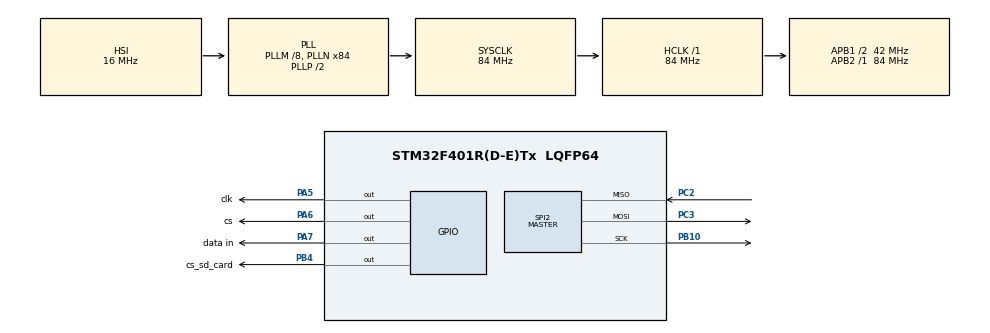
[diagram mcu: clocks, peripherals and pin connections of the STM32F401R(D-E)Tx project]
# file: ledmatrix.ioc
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FATFS._MAX_SS=4096
FATFS._USE_LFN=1
Mcu.Family=STM32F4
Mcu.Name=STM32F401R(D-E)Tx
Mcu.Package=LQFP64
NVIC.PriorityGroup=NVIC_PRIORITYGROUP_4
PA13.Mode=Serial_Wire
PA13.Signal=SYS_JTMS-SWDIO
PA14.Mode=Serial_Wire
PA14.Signal=SYS_JTCK-SWCLK
PA5.GPIO_Label=clk
PA5.Signal=GPIO_Output
PA6.GPIO_Label=cs
PA6.Signal=GPIO_Output
PA7.GPIO_Label=data in
PA7.Signal=GPIO_Output
PB10.Mode=Full_Duplex_Master
PB10.Signal=SPI2_SCK
PB4.GPIO_Label=cs_sd_card
PB4.Signal=GPIO_Output
PC2.Mode=Full_Duplex_Master
PC2.Signal=SPI2_MISO
PC3.Mode=Full_Duplex_Master
PC3.Signal=SPI2_MOSI
ProjectManager.HeapSize=0x200
ProjectManager.StackSize=0x400
ProjectManager.TargetToolchain=STM32CubeIDE
RCC.48MHZClocksFreq_Value=42000000
RCC.AHBFreq_Value=84000000
RCC.APB1CLKDivider=RCC_HCLK_DIV2
RCC.APB1Freq_Value=42000000
RCC.APB1TimFreq_Value=84000000
RCC.APB2Freq_Value=84000000
RCC.APB2TimFreq_Value=84000000
RCC.CortexFreq_Value=84000000
RCC.HCLKFreq_Value=84000000
RCC.HSE_VALUE=25000000
RCC.HSI_VALUE=16000000
RCC.LSE_VALUE=32768
RCC.PLLM=8
RCC.PLLN=84
RCC.SYSCLKFreq_VALUE=84000000
RCC.SYSCLKSource=RCC_SYSCLKSOURCE_PLLCLK
RCC.VCOOutputFreq_Value=168000000
SPI2.BaudRatePrescaler=SPI_BAUDRATEPRESCALER_32
SPI2.Direction=SPI_DIRECTION_2LINES
SPI2.Mode=SPI_MODE_MASTER
SPI2.VirtualType=VM_MASTER
VP_FATFS_VS_Generic.Mode=User_defined
board=custom

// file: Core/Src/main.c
/* USER CODE BEGIN Header */
/**
  ******************************************************************************
  * @file           : main.c
  * @brief          : Main program body
  ******************************************************************************
  * @attention
  *
  * <h2><center>&copy; Copyright (c) 2020 STMicroelectronics.
  * All rights reserved.</center></h2>
  *
  * This software component is licensed by ST under BSD 3-Clause license,
  * the "License"; You may not use this file except in compliance with the
  * License. You may obtain a copy of the License at:
  *                        opensource.org/licenses/BSD-3-Clause
  *
  ******************************************************************************
  */
/* USER CODE END Header */
#include "main.h"
#include "fatfs.h"
#include "spi.h"
#include "gpio.h"

/* USER CODE BEGIN Includes */
#include "fatfs_sd.h"
#include "string.h"
#include "stdbool.h"
/* USER CODE END Includes */

void SystemClock_Config(void);

/* USER CODE BEGIN 0 */

#define N 4000
uint8_t tablicaGlowna[8][4000];
FATFS fs;
FIL fil;
FRESULT fresult;
char buffer[N];
char tekst[N];
char buffer2[100];
int ilosc_led = 0;
int szybkosc = 0;
int mode=1;
int dlugoscZnaku=0;
int kontrast=0;
////////////////////////////////////
////////////////////////////////////
///////////////////////////////////

/*int zwroc_dlugosc_pliku(){
	int counter=0;
	for(int i=0;i<N;i++){
	if(tekst[i]!=0){
		counter++;
	}
	}

	return counter-1;
}*/

void przepiszPlik(int dlugosc){
   for(int i=0;i<dlugosc;i++){
   tekst[i]=buffer[i];
   }

}
//////////////////////////////////////////////////////
void otworzPlikZTekstem(){
	  fresult = f_mount(&fs, "", 0);
	  fresult = f_open(&fil, "tekst.txt", FA_READ);
	  f_gets(buffer,4096, &fil);
	  f_close(&fil);

	 przepiszPlik(strlen(buffer));
}
//////////////////////////////////////////////////////////
bool otworzPlikZParametrami(){
	  bool control=true;
	  fresult = f_mount(&fs, "", 0);
	  fresult = f_open(&fil, "config.txt", FA_READ);
	  f_gets(buffer2,4096, &fil);
	  f_close(&fil);
	  szybkosc = (int)buffer2[14]-48;
	  if(szybkosc <1 || szybkosc>9){strcpy(tekst,"Blad pliku konfiguracyjnego, ustaw szybkosc przewijania z przedzialu <1,9>"); control=false;}
	  mode=(int)buffer2[5]-48;
	  if(mode<0 || mode>1){strcpy(tekst, "Blad pliku konfiguracyjnego, ustaw mode na 0 lub 1"); control=false;}

	  ilosc_led= ((int)buffer2[29]-48)*10+(int)buffer2[30]-48;
	  if(ilosc_led<1 ||ilosc_led>64){strcpy(tekst,"Blad pliku konfiguracyjnego, ustaw ilosc led z przedzialu (1,64>"); control=false;}

	  kontrast= ((int)buffer2[42]-48)*10+(int)buffer2[43]-48;
	  	  if(kontrast<0 ||kontrast>15){strcpy(tekst,"Blad pliku konfiguracyjnego, ustaw kontrast z przedzialu <0,15>"); control=false;}
return control;
}
//////////////////////////////////////////////////////
void wypelnijGlownaTablice(){
for(int i=0; i<N; i++){
	for(int j=0; j<8; j++){
	tablicaGlowna[j][i]= 2;
	}
}
}
/////////////////////////////////////////////////////
int dlugoscTablicyGlownej(){
	int counter=0;

	for(int i=0;i<N; i++){
		if(tablicaGlowna[7][i]!=2){counter++;}
	}
	return counter;
	}

///////////////////////////////////////////////////////
void dodajMacierzLitery(uint8_t macierz[8][dlugoscZnaku]){
int aktualnaDlugosc = dlugoscTablicyGlownej();  //dlugosc tablicy głownej przed dodaniem kolejnego znaku
for(int j=0;j<dlugoscZnaku;j++){
	for(int k=0; k<8; k++){
		int len=aktualnaDlugosc+j;
	tablicaGlowna[k][len]=macierz[k][j];
	}
}
}
///////////////////////////////////////////////////

void KonwertujTekst(int dlugosc)
{
	uint8_t literaProcent[8][7]={
			{0,1,0,0,0,0,0},
			{1,0,1,0,0,1,0},
			{0,1,0,0,1,0,0},
			{0,0,0,1,0,0,0},
			{0,0,1,0,0,0,0},
			{0,1,0,0,1,0,0},
			{1,0,0,1,0,1,0},
			{0,0,0,0,1,0,0}
	};

	uint8_t literaKropka[8][3]={
			{0,0,0},
			{0,0,0},
			{0,0,0},
			{0,0,0},
			{0,0,0},
			{0,0,0},
			{1,1,0},
			{1,1,0}
	};

	uint8_t literaKreskaPionowa[8][2]={
			{1,0},
			{1,0},
			{1,0},
			{1,0},
			{1,0},
			{1,0},
			{1,0},
			{1,0}
	};

	uint8_t literaWykrzyknik[8][2]={
			{1,0},
			{1,0},
			{1,0},
			{1,0},
			{1,0},
			{0,0},
			{1,0},
			{0,0}
	};

	uint8_t literaZnakZapytania[8][6]={
			{0,1,1,1,0,0},
			{1,0,0,0,1,0},
			{0,0,0,0,1,0},
			{0,0,0,1,0,0},
			{0,0,1,0,0,0},
			{0,0,1,0,0,0},
			{0,0,0,0,0,0},
			{0,0,1,0,0,0}
	};

	uint8_t literaPrzecinek[8][3]={
			{0,0,0},
			{0,0,0},
			{0,0,0},
			{0,0,0},
			{0,0,0},
			{1,0,0},
			{0,1,0},
			{0,1,0}
	};

	uint8_t literaDwukropek[8][3]={
			{0,0,0},
			{0,0,0},
			{0,0,0},
			{1,1,0},
			{1,1,0},
			{0,0,0},
			{1,1,0},
			{1,1,0}
	};

	uint8_t literaApostrof[8][3]={
			{0,1,0},
			{1,0,0},
			{0,0,0},
			{0,0,0},
			{0,0,0},
			{0,0,0},
			{0,0,0},
			{0,0,0}
	};

	uint8_t literaSlash[8][6]={
			{0,0,0,0,1,0},
			{0,0,0,0,1,0},
			{0,0,0,1,0,0},
			{0,0,0,1,0,0},
			{0,0,1,0,0,0},
			{0,1,0,0,0,0},
			{0,1,0,0,0,0},
			{1,0,0,0,0,0}
	};

	uint8_t literaBackSlash[8][6]={
			{1,0,0,0,0,0},
			{1,0,0,0,0,0},
			{0,1,0,0,0,0},
			{0,1,0,0,0,0},
			{0,0,1,0,0,0},
			{0,0,0,1,0,0},
			{0,0,0,1,0,0},
			{0,0,0,0,1,0}
	};

	uint8_t literaRownaSie[8][6]={
			{0,0,0,0,0,0},
			{0,0,0,0,0,0},
			{1,1,1,1,1,0},
			{0,0,0,0,0,0},
			{0,0,0,0,0,0},
			{1,1,1,1,1,0},
			{0,0,0,0,0,0},
			{0,0,0,0,0,0}
	};

	uint8_t literaPlus[8][6]={
			{0,0,0,0,0,0},
			{0,0,0,0,0,0},
			{0,0,1,0,0,0},
			{0,0,1,0,0,0},
			{1,1,1,1,1,0},
			{0,0,1,0,0,0},
			{0,0,1,0,0,0},
			{0,0,0,0,0,0}
	};
	uint8_t literaMinus[8][6]={
			{0,0,0,0,0,0},
			{0,0,0,0,0,0},
			{0,0,0,0,0,0},
			{0,0,0,0,0,0},
			{1,1,1,1,1,0},
			{0,0,0,0,0,0},
			{0,0,0,0,0,0},
			{0,0,0,0,0,0}
	};
	uint8_t literaPodloga[8][6]={
			{0,0,0,0,0,0},
			{0,0,0,0,0,0},
			{0,0,0,0,0,0},
			{0,0,0,0,0,0},
			{0,0,0,0,0,0},
			{0,0,0,0,0,0},
			{0,0,0,0,0,0},
			{1,1,1,1,1,0}
	};

	uint8_t literaWiekszeOd[8][6]={
			{0,0,0,0,0,0},
			{1,0,0,0,0,0},
			{0,1,1,0,0,0},
			{0,0,0,1,1,0},
			{0,1,1,0,0,0},
			{1,0,0,0,0,0},
			{0,0,0,0,0,0},
			{0,0,0,0,0,0}
	};

	uint8_t literaMniejszeOd[8][6]={
			{0,0,0,0,0,0},
			{0,0,0,0,1,0},
			{0,0,1,1,0,0},
			{1,1,0,0,0,0},
			{0,0,1,1,0,0},
			{0,0,0,0,1,0},
			{0,0,0,0,0,0},
			{0,0,0,0,0,0}
	};

	uint8_t literaNawiasLewy[8][4]={
			{0,0,1,0},
			{0,1,0,0},
			{1,0,0,0},
			{1,0,0,0},
			{1,0,0,0},
			{1,0,0,0},
			{0,1,0,0},
			{0,0,1,0}
	};

	uint8_t literaNawiasPrawy[8][4]={
			{1,0,0,0},
			{0,1,0,0},
			{0,0,1,0},
			{0,0,1,0},
			{0,0,1,0},
			{0,0,1,0},
			{0,1,0,0},
			{1,0,0,0}
	};

	uint8_t litera0[8][6]={
			{0,1,1,1,0,0},
			{1,0,0,0,1,0},
			{1,0,0,1,1,0},
			{1,0,1,0,1,0},
			{1,1,0,0,1,0},
			{1,0,0,0,1,0},
			{1,0,0,0,1,0},
			{0,1,1,1,0,0}
	};

	uint8_t litera1[8][6]={
			{0,0,1,0,0,0},
			{0,1,1,0,0,0},
			{1,0,1,0,0,0},
			{0,0,1,0,0,0},
			{0,0,1,0,0,0},
			{0,0,1,0,0,0},
			{0,0,1,0,0,0},
			{0,0,1,0,0,0}
	};

	uint8_t litera2[8][6]={
			{0,1,1,1,0,0},
			{1,0,0,0,1,0},
			{0,0,0,1,0,0},
			{0,0,1,0,0,0},
			{0,1,0,0,0,0},
			{0,1,0,0,0,0},
			{1,0,0,0,0,0},
			{1,1,1,1,1,0}
	};

	uint8_t litera3[8][6]={
			{1,1,1,1,0,0},
			{0,0,0,0,1,0},
			{0,0,0,0,1,0},
			{1,1,1,1,0,0},
			{0,0,0,0,1,0},
			{0,0,0,0,1,0},
			{0,0,0,0,1,0},
			{1,1,1,1,0,0}
	};

	uint8_t litera4[8][6]={
			{0,0,0,1,0,0},
			{0,0,1,0,0,0},
			{0,1,0,0,0,0},
			{1,0,0,1,0,0},
			{1,1,1,1,1,0},
			{0,0,0,1,0,0},
			{0,0,0,1,0,0},
			{0,0,0,1,0,0}
	};

	uint8_t litera5[8][6]={
			{1,1,1,1,1,0},
			{1,0,0,0,0,0},
			{1,0,0,0,0,0},
			{1,1,1,1,0,0},
			{0,0,0,0,1,0},
			{0,0,0,0,1,0},
			{1,0,0,0,1,0},
			{0,1,1,1,0,0}
	};

	uint8_t litera6[8][6]={
			{0,1,1,1,0,0},
			{1,0,0,0,1,0},
			{1,0,0,0,0,0},
			{1,1,1,1,0,0},
			{1,0,0,0,1,0},
			{1,0,0,0,1,0},
			{1,0,0,0,1,0},
			{0,1,1,1,0,0}
	};

	uint8_t litera7[8][6]={
			{1,1,1,1,1,1},
			{1,0,0,0,0,1},
			{0,0,0,0,1,0},
			{0,0,0,1,0,0},
			{0,0,1,0,0,0},
			{0,0,1,0,0,0},
			{0,1,0,0,0,0},
			{0,1,0,0,0,0}
	};

	uint8_t litera8[8][6]={
			{0,1,1,1,0,0},
			{1,0,0,0,1,0},
			{1,0,0,0,1,0},
			{0,1,1,1,0,0},
			{1,0,0,0,1,0},
			{1,0,0,0,1,0},
			{1,0,0,0,1,0},
			{0,1,1,1,0,0}
	};

	uint8_t litera9[8][6]={
			{0,1,1,1,0,0},
			{1,0,0,0,1,0},
			{1,0,0,0,1,0},
			{0,1,1,1,1,0},
			{0,0,0,0,1,0},
			{0,0,0,0,1,0},
			{1,0,0,0,1,0},
			{0,1,1,1,0,0}
	};

	uint8_t literaA[8][6]={
		{0,0,1,0,0,0},
		{0,1,0,1,0,0},
		{1,0,0,0,1,0},
		{1,0,0,0,1,0},
		{1,1,1,1,1,0},
		{1,0,0,0,1,0},
		{1,0,0,0,1,0},
		{1,0,0,0,1,0}
	};

	uint8_t literaAl[8][6]={
		{0,0,1,0,0,0},
		{0,1,0,1,0,0},
		{1,0,0,0,1,0},
		{1,1,1,1,1,0},
		{1,0,0,0,1,0},
		{1,0,0,1,1,1},
		{1,0,1,0,1,0},
		{0,0,1,0,0,0}
	};

	uint8_t literaB[8][6]={
			{1,1,1,1,0,0},
			{1,0,0,0,1,0},
			{1,0,0,0,1,0},
			{1,1,1,1,0,0},
			{1,0,0,0,1,0},
			{1,0,0,0,1,0},
			{1,0,0,0,1,0},
			{1,1,1,1,0,0}
	};

	uint8_t literaC[8][6]={
			{0,1,1,1,1,0},
			{1,0,0,0,0,0},
			{1,0,0,0,0,0},
			{1,0,0,0,0,0},
			{1,0,0,0,0,0},
			{1,0,0,0,0,0},
			{1,0,0,0,0,0},
			{0,1,1,1,1,0}
	};

	uint8_t literaCi[8][6]={
			{0,0,0,1,0,0},
			{0,0,1,0,0,0},
			{0,1,1,1,1,0},
			{1,0,0,0,0,0},
			{1,0,0,0,0,0},
			{1,0,0,0,0,0},
			{1,0,0,0,0,0},
			{0,1,1,1,1,0}
	};

	uint8_t literaD[8][6]={
			{1,1,1,0,0,0},
			{1,0,0,1,0,0},
			{1,0,0,0,1,0},
			{1,0,0,0,1,0},
			{1,0,0,0,1,0},
			{1,0,0,0,1,0},
			{1,0,0,1,0,0},
			{1,1,1,0,0,0}
	};

	uint8_t literaE[8][6]={
			{1,1,1,1,1,0},
			{1,0,0,0,0,0},
			{1,0,0,0,0,0},
			{1,1,1,1,1,0},
			{1,0,0,0,0,0},
			{1,0,0,0,0,0},
			{1,0,0,0,0,0},
			{1,1,1,1,1,0}
	};

	uint8_t literaEE[8][6]={
			{1,1,1,1,1,0},
			{1,0,0,0,0,0},
			{1,0,0,0,0,0},
			{1,1,1,1,1,0},
			{1,0,0,0,0,0},
			{1,0,0,0,1,0},
			{1,1,1,1,1,0},
			{0,0,1,0,0,0}
	};

	uint8_t literaF[8][6]={
			{1,1,1,1,1,0},
			{1,0,0,0,0,0},
			{1,0,0,0,0,0},
			{1,1,1,1,1,0},
			{1,0,0,0,0,0},
			{1,0,0,0,0,0},
			{1,0,0,0,0,0},
			{1,0,0,0,0,0}
	};

	uint8_t literaG[8][6]={
			{0,1,1,1,0,0},
			{1,0,0,0,1,0},
			{1,0,0,0,0,0},
			{1,0,0,0,0,0},
			{1,0,0,1,1,0},
			{1,0,0,0,1,0},
			{1,0,0,0,1,0},
			{0,1,1,1,1,0}
	};

	uint8_t literaH[8][6]={
			{1,0,0,0,1,0},
			{1,0,0,0,1,0},
			{1,0,0,0,1,0},
			{1,1,1,1,1,0},
			{1,0,0,0,1,0},
			{1,0,0,0,1,0},
			{1,0,0,0,1,0},
			{1,0,0,0,1,0}
	};

	uint8_t literaI[8][4]={
			{1,1,1,0},
			{0,1,0,0},
			{0,1,0,0},
			{0,1,0,0},
			{0,1,0,0},
			{0,1,0,0},
			{0,1,0,0},
			{1,1,1,0}
	};

	uint8_t literaJ[8][6]={
			{0,1,1,1,1,0},
			{0,0,0,0,1,0},
			{0,0,0,0,1,0},
			{0,0,0,0,1,0},
			{0,0,0,0,1,0},
			{0,0,0,0,1,0},
			{1,0,0,0,1,0},
			{0,1,1,1,0,0}
	};

	uint8_t literaK[8][6]={
			{1,0,0,0,1,0},
			{1,0,0,1,0,0},
			{1,0,1,0,0,0},
			{1,1,0,0,0,0},
			{1,0,1,0,0,0},
			{1,0,0,1,0,0},
			{1,0,0,0,1,0},
			{1,0,0,0,1,0}
	};

	uint8_t literaL[8][6]={
			{1,0,0,0,0,0},
			{1,0,0,0,0,0},
			{1,0,0,0,0,0},
			{1,0,0,0,0,0},
			{1,0,0,0,0,0},
			{1,0,0,0,0,0},
			{1,0,0,0,0,0},
			{1,1,1,1,1,0}
	};

	uint8_t literaEl[8][6]={
			{0,1,0,0,0,0},
			{0,1,0,0,0,0},
			{0,1,0,0,0,0},
			{0,1,1,0,0,0},
			{0,1,0,0,0,0},
			{1,1,0,0,0,0},
			{0,1,0,0,0,0},
			{0,1,1,1,1,0}
	};

	uint8_t literaM[8][6]={
			{1,0,0,0,1,0},
			{1,0,0,0,1,0},
			{1,1,0,1,1,0},
			{1,1,0,1,1,0},
			{1,0,1,0,1,0},
			{1,0,1,0,1,0},
			{1,0,0,0,1,0},
			{1,0,0,0,1,0}
	};
	uint8_t literaN[8][6]={
			{1,0,0,0,1,0},
			{1,1,0,0,1,0},
			{1,1,0,0,1,0},
			{1,0,1,0,1,0},
			{1,0,1,0,1,0},
			{1,0,0,1,1,0},
			{1,0,0,1,1,0},
			{1,0,0,0,1,0}
	};

	uint8_t literaNi[8][6]={
			{0,0,0,1,0,0},
			{0,0,1,0,0,0},
			{0,0,0,0,0,0},
			{1,0,0,0,1,0},
			{1,1,0,0,1,0},
			{1,0,1,0,1,0},
			{1,0,0,1,1,0},
			{1,0,0,0,1,0}
	};

	uint8_t literaO[8][6]={
			{0,1,1,1,0,0},
			{1,0,0,0,1,0},
			{1,0,0,0,1,0},
			{1,0,0,0,1,0},
			{1,0,0,0,1,0},
			{1,0,0,0,1,0},
			{1,0,0,0,1,0},
			{0,1,1,1,0,0}
	};

	uint8_t literaOu[8][6]={
			{0,0,0,1,0,0},
			{0,0,1,0,0,0},
			{0,1,1,1,0,0},
			{1,0,0,0,1,0},
			{1,0,0,0,1,0},
			{1,0,0,0,1,0},
			{1,0,0,0,1,0},
			{0,1,1,1,0,0}
	};

	uint8_t literaP[8][6]={
			{1,1,1,1,0,0},
			{1,0,0,0,1,0},
			{1,0,0,0,1,0},
			{1,0,0,0,1,0},
			{1,1,1,1,0,0},
			{1,0,0,0,0,0},
			{1,0,0,0,0,0},
			{1,0,0,0,0,0}
	};

	uint8_t literaQ[8][6]={
			{0,1,1,1,0,0},
			{1,0,0,0,1,0},
			{1,0,0,0,1,0},
			{1,0,0,0,1,0},
			{1,0,0,0,1,0},
			{1,0,0,1,0,0},
			{0,1,1,1,1,0},
			{0,0,0,0,1,0}
	};

	uint8_t literaR[8][6]={
			{1,1,1,1,0,0},
			{1,0,0,0,1,0},
			{1,0,0,0,1,0},
			{1,1,1,1,0,0},
			{1,0,1,0,0,0},
			{1,0,0,1,0,0},
			{1,0,0,0,1,0},
			{1,0,0,0,1,0}
	};

	uint8_t literaS[8][6]={
			{0,1,1,1,1,0},
			{1,0,0,0,0,0},
			{1,0,0,0,0,0},
			{0,1,1,1,0,0},
			{0,0,0,0,1,0},
			{0,0,0,0,1,0},
			{0,0,0,0,1,0},
			{1,1,1,1,0,0}
	};

	uint8_t literaSi[8][6]={
			{0,0,0,1,0,0},
			{0,0,1,0,0,0},
			{0,1,1,1,0,0},
			{1,0,0,0,0,0},
			{0,1,1,1,1,0},
			{0,0,0,0,1,0},
			{0,0,0,0,1,0},
			{1,1,1,1,0,0}
	};

	uint8_t literaT[8][6]={
			{1,1,1,1,1,0},
			{0,0,1,0,0,0},
			{0,0,1,0,0,0},
			{0,0,1,0,0,0},
			{0,0,1,0,0,0},
			{0,0,1,0,0,0},
			{0,0,1,0,0,0},
			{0,0,1,0,0,0}
	};

	uint8_t literaU[8][6]={
			{1,0,0,0,1,0},
			{1,0,0,0,1,0},
			{1,0,0,0,1,0},
			{1,0,0,0,1,0},
			{1,0,0,0,1,0},
			{1,0,0,0,1,0},
			{1,0,0,0,1,0},
			{0,1,1,1,0,0}
	};

	uint8_t literaV[8][6]={
			{1,0,0,0,1,0},
			{1,0,0,0,1,0},
			{1,0,0,0,1,0},
			{0,1,0,1,0,0},
			{0,1,0,1,0,0},
			{0,1,0,1,0,0},
			{0,0,1,0,0,0},
			{0,0,1,0,0,0}
	};

	uint8_t literaW[8][6]={
			{1,0,0,0,1,0},
			{1,0,0,0,1,0},
			{1,0,0,0,1,0},
			{1,0,1,0,1,0},
			{1,0,1,0,1,0},
			{1,1,0,1,1,0},
			{1,1,0,1,1,0},
			{1,0,0,0,1,0}
	};

	uint8_t literaX[8][6]={
			{1,0,0,0,1,0},
			{0,1,0,1,0,0},
			{0,1,0,1,0,0},
			{0,0,1,0,0,0},
			{0,0,1,0,0,0},
			{0,1,0,1,0,0},
			{0,1,0,1,0,0},
			{1,0,0,0,1,0}
	};

	uint8_t literaY[8][6]={
			{1,0,0,0,1,0},
			{1,0,0,0,1,0},
			{0,1,0,1,0,0},
			{0,1,0,1,0,0},
			{0,0,1,0,0,0},
			{0,0,1,0,0,0},
			{0,0,1,0,0,0},
			{0,0,1,0,0,0}
	};

	uint8_t literaZ[8][6]={
			{1,1,1,1,1,0},
			{0,0,0,1,0,0},
			{0,0,0,1,0,0},
			{0,0,1,0,0,0},
			{0,0,1,0,0,0},
			{0,1,0,0,0,0},
			{0,1,0,0,0,0},
			{1,1,1,1,1,0}
	};
	uint8_t literaZi[8][6]={
			{0,0,0,1,0,0},
			{0,0,1,0,0,0},
			{0,1,0,0,0,0},
			{1,1,1,1,1,0},
			{0,0,0,1,0,0},
			{0,0,1,0,0,0},
			{0,1,0,0,0,0},
			{1,1,1,1,1,0}
	};

	uint8_t literaZy[8][6]={
			{0,0,0,0,0,0},
			{0,0,1,0,0,0},
			{0,0,0,0,0,0},
			{1,1,1,1,1,0},
			{0,0,0,1,0,0},
			{0,0,1,0,0,0},
			{0,1,0,0,0,0},
			{1,1,1,1,1,0}
	};

	uint8_t literaSpacja[8][4]={
			{0,0,0,0},
			{0,0,0,0},
			{0,0,0,0},
			{0,0,0,0},
			{0,0,0,0},
			{0,0,0,0},
			{0,0,0,0},
			{0,0,0,0}
	};

for(int i=0; i<dlugosc+1; i++)
{

	if(tekst[i]=='a' || tekst[i]=='A'){dlugoscZnaku=6;dodajMacierzLitery(literaA);}
	else if(tekst[i]=='b' || tekst[i]=='B'){dlugoscZnaku=6;dodajMacierzLitery(literaB);}
	else if(tekst[i]==196 && (tekst[i+1]==132 || tekst[i+1]==133 ) ){dlugoscZnaku=6;dodajMacierzLitery(literaAl);i++;}
	else if(tekst[i]==196 && (tekst[i+1]==152 || tekst[i+1]==153 ) ){dlugoscZnaku=6;dodajMacierzLitery(literaEE);i++;}
	else if(tekst[i]==197 && (tekst[i+1]==129 || tekst[i+1]==130 ) ){dlugoscZnaku=6;dodajMacierzLitery(literaEl);i++;}
	else if(tekst[i]==197 && (tekst[i+1]==131 || tekst[i+1]==132 ) ){dlugoscZnaku=6;dodajMacierzLitery(literaNi);i++;}
	else if(tekst[i]==195 && (tekst[i+1]==147 || tekst[i+1]==179 ) ){dlugoscZnaku=6;dodajMacierzLitery(literaOu);i++;}
	else if(tekst[i]==197 && (tekst[i+1]==154 || tekst[i+1]==155 ) ){dlugoscZnaku=6;dodajMacierzLitery(literaSi);i++;}
	else if(tekst[i]==197 && (tekst[i+1]==187 || tekst[i+1]==188 ) ){dlugoscZnaku=6;dodajMacierzLitery(literaZy);i++;}
	else if(tekst[i]==197 && (tekst[i+1]==185 || tekst[i+1]==186 ) ){dlugoscZnaku=6;dodajMacierzLitery(literaZi);i++;}
	else if(tekst[i]==196 && (tekst[i+1]==135 || tekst[i+1]==134 ) ){dlugoscZnaku=6;dodajMacierzLitery(literaCi);i++;}
	else if(tekst[i]=='c' || tekst[i]=='C'){dlugoscZnaku=6;dodajMacierzLitery(literaC);}
	else if(tekst[i]=='d' || tekst[i]=='D'){dlugoscZnaku=6;dodajMacierzLitery(literaD);}
	else if(tekst[i]=='e' || tekst[i]=='E'){dlugoscZnaku=6;dodajMacierzLitery(literaE);}
	else if(tekst[i]=='f' || tekst[i]=='F'){dlugoscZnaku=6;dodajMacierzLitery(literaF);}
	else if(tekst[i]=='g' || tekst[i]=='G'){dlugoscZnaku=6;dodajMacierzLitery(literaG);}
	else if(tekst[i]=='h' || tekst[i]=='H'){dlugoscZnaku=6;dodajMacierzLitery(literaH);}
	else if(tekst[i]=='i' || tekst[i]=='I'){dlugoscZnaku=4;dodajMacierzLitery(literaI);}
	else if(tekst[i]=='j' || tekst[i]=='J'){dlugoscZnaku=6;dodajMacierzLitery(literaJ);}
	else if(tekst[i]=='k' || tekst[i]=='K'){dlugoscZnaku=6;dodajMacierzLitery(literaK);}
	else if(tekst[i]=='l' || tekst[i]=='L'){dlugoscZnaku=6;dodajMacierzLitery(literaL);}
	else if(tekst[i]=='m' || tekst[i]=='M'){dlugoscZnaku=6;dodajMacierzLitery(literaM);}
	else if(tekst[i]=='n' || tekst[i]=='N'){dlugoscZnaku=6;dodajMacierzLitery(literaN);}
	else if(tekst[i]=='o' || tekst[i]=='O'){dlugoscZnaku=6;dodajMacierzLitery(literaO);}
	else if(tekst[i]=='p' || tekst[i]=='P'){dlugoscZnaku=6;dodajMacierzLitery(literaP);}
	else if(tekst[i]=='q' || tekst[i]=='Q'){dlugoscZnaku=6;dodajMacierzLitery(literaQ);}
	else if(tekst[i]=='r' || tekst[i]=='R'){dlugoscZnaku=6;dodajMacierzLitery(literaR);}
	else if(tekst[i]=='s' || tekst[i]=='S'){dlugoscZnaku=6;dodajMacierzLitery(literaS);}
	else if(tekst[i]=='t' || tekst[i]=='T'){dlugoscZnaku=6;dodajMacierzLitery(literaT);}
	else if(tekst[i]=='u' || tekst[i]=='U'){dlugoscZnaku=6;dodajMacierzLitery(literaU);}
	else if(tekst[i]=='v' || tekst[i]=='V'){dlugoscZnaku=6;dodajMacierzLitery(literaV);}
	else if(tekst[i]=='w' || tekst[i]=='W'){dlugoscZnaku=6;dodajMacierzLitery(literaW);}
	else if(tekst[i]=='x' || tekst[i]=='X'){dlugoscZnaku=6;dodajMacierzLitery(literaX);}
	else if(tekst[i]=='y' || tekst[i]=='Y'){dlugoscZnaku=6;dodajMacierzLitery(literaY);}
	else if(tekst[i]=='z' || tekst[i]=='Z'){dlugoscZnaku=6;dodajMacierzLitery(literaZ);}
	else if(tekst[i]==' '){dlugoscZnaku=4;dodajMacierzLitery(literaSpacja);}
	else if(tekst[i]=='0'){dlugoscZnaku=6;dodajMacierzLitery(litera0);}
	else if(tekst[i]=='1'){dlugoscZnaku=6;dodajMacierzLitery(litera1);}
	else if(tekst[i]=='2'){dlugoscZnaku=6;dodajMacierzLitery(litera2);}
	else if(tekst[i]=='3'){dlugoscZnaku=6;dodajMacierzLitery(litera3);}
	else if(tekst[i]=='4'){dlugoscZnaku=6;dodajMacierzLitery(litera4);}
	else if(tekst[i]=='5'){dlugoscZnaku=6;dodajMacierzLitery(litera5);}
	else if(tekst[i]=='6'){dlugoscZnaku=6;dodajMacierzLitery(litera6);}
	else if(tekst[i]=='7'){dlugoscZnaku=6;dodajMacierzLitery(litera7);}
	else if(tekst[i]=='8'){dlugoscZnaku=6;dodajMacierzLitery(litera8);}
	else if(tekst[i]=='9'){dlugoscZnaku=6;dodajMacierzLitery(litera9);}
	else if(tekst[i]=='%'){dlugoscZnaku=7;dodajMacierzLitery(literaProcent);}
	else if(tekst[i]=='?'){dlugoscZnaku=6;dodajMacierzLitery(literaZnakZapytania);}
	else if(tekst[i]=='/'){dlugoscZnaku=6;dodajMacierzLitery(literaSlash);}
	else if(tekst[i]=='>'){dlugoscZnaku=6;dodajMacierzLitery(literaWiekszeOd);}
	else if(tekst[i]=='<'){dlugoscZnaku=6;dodajMacierzLitery(literaMniejszeOd);}
	else if(tekst[i]=='='){dlugoscZnaku=6;dodajMacierzLitery(literaRownaSie);}
	else if(tekst[i]=='_'){dlugoscZnaku=6;dodajMacierzLitery(literaPodloga);}
	else if(tekst[i]=='-'){dlugoscZnaku=6;dodajMacierzLitery(literaMinus);}
	else if(tekst[i]=='+'){dlugoscZnaku=6;dodajMacierzLitery(literaPlus);}
	else if(tekst[i]=='!'){dlugoscZnaku=2;dodajMacierzLitery(literaWykrzyknik);}
	else if(tekst[i]=='|'){dlugoscZnaku=2;dodajMacierzLitery(literaKreskaPionowa);}
	else if(tekst[i]=='('){dlugoscZnaku=4;dodajMacierzLitery(literaNawiasLewy);}
	else if(tekst[i]==')'){dlugoscZnaku=4;dodajMacierzLitery(literaNawiasPrawy);}
	else if(tekst[i]=='.'){dlugoscZnaku=3;dodajMacierzLitery(literaKropka);}
	else if(tekst[i]==','){dlugoscZnaku=3;dodajMacierzLitery(literaPrzecinek);}
	else if(tekst[i]==58){dlugoscZnaku=3;dodajMacierzLitery(literaDwukropek);}
	else{dlugoscZnaku=6;dodajMacierzLitery(literaZnakZapytania);}

}
}

void DostosujDoPrzewijania(int ile_led){
	int aktualnaDlugosc = dlugoscTablicyGlownej();
	for(int i=0; i<8;i++){
		for(int j=0; j<8*ile_led; j++){
			tablicaGlowna[i][aktualnaDlugosc+j]=0;
		}
		}

	aktualnaDlugosc = dlugoscTablicyGlownej();
	for(int i=0; i<8;i++){
		for(int j=0; j<8*ile_led; j++){
			tablicaGlowna[i][aktualnaDlugosc+j]=tablicaGlowna[i][j];
		}
		}

}

void ArrayToLed(int ile_led, int speed){
	int aktualnaDlugosc=(ile_led*8)+1;

	if(mode==1){aktualnaDlugosc = dlugoscTablicyGlownej();}

	for(int przewijacz=0;przewijacz<aktualnaDlugosc-(ile_led*8);przewijacz++){

	for(uint8_t i=0; i<8; i++){
		HAL_GPIO_WritePin(cs_GPIO_Port, cs_Pin, 0);
	for(int k=0; k<ile_led; k++){
		uint8_t decimal=0;
	for(int j=0; j<8; j++){

	decimal= decimal+tablicaGlowna[i][(k*8)+j+przewijacz]*(int)pow(2,7-j);

	}
	write_byte(i+1);
	write_byte(decimal);

	}

	HAL_GPIO_WritePin(cs_GPIO_Port, cs_Pin, 1); //koniec ciągu danych
	}
HAL_Delay(20*(9-speed));
}

}

void write_byte (uint8_t byte)
{
for (int i=0; i<8; i++){   //8 razy bo tyle ma bajt i tyle przesunięc wykonamy
	HAL_GPIO_WritePin(clk_GPIO_Port, clk_Pin, 0);  //stan niski na zegarze
	HAL_GPIO_WritePin(data_in_GPIO_Port, data_in_Pin, byte&0x80); //bierzemy najstarszy bit
	byte= byte <<1; //przesuwamy w lewo
	HAL_GPIO_WritePin(clk_GPIO_Port, clk_Pin, 1);  //stan wysoki na zegarze
}
}

void maxInit(uint8_t adres, uint8_t data){
	HAL_GPIO_WritePin(cs_GPIO_Port, cs_Pin, 0); //cs na niskim

	for(int i=0;i<ilosc_led;i++){

	write_byte(adres);
	write_byte(data);
}
	HAL_GPIO_WritePin(cs_GPIO_Port, cs_Pin, 1);  //cs na wysokim
}

/* USER CODE END 0 */

int main(void)
{

  /* MCU Configuration--------------------------------------------------------*/

  /* Reset of all peripherals, Initializes the Flash interface and the Systick. */
  HAL_Init();

  /* USER CODE BEGIN Init */
  /* USER CODE BEGIN 1 */

  /* USER CODE END Init */

  /* Configure the system clock */
  SystemClock_Config();

  /* Initialize all configured peripherals */
  MX_GPIO_Init();
  MX_SPI2_Init();
  MX_FATFS_Init();
  /* USER CODE BEGIN 2 */

  if(otworzPlikZParametrami())otworzPlikZTekstem();

  wypelnijGlownaTablice();

  KonwertujTekst(strlen(tekst)-1);

  maxInit(0x09,0x00);
  maxInit(0x0a,kontrast);//kontrast
  maxInit(0x0b,0x07);//
  maxInit(0x0c,0x01);//
  maxInit(0x0f,0x00);//

  DostosujDoPrzewijania(ilosc_led);

//

  /* USER CODE END 2 */

  /* Infinite loop */
  /* USER CODE BEGIN WHILE */
  while (1)
  {
	  ArrayToLed(ilosc_led,szybkosc);

  }

    /* USER CODE END WHILE */

}

void SystemClock_Config(void)
{
  RCC_OscInitTypeDef RCC_OscInitStruct = {0};
  RCC_ClkInitTypeDef RCC_ClkInitStruct = {0};

  /** Configure the main internal regulator output voltage
  */
  __HAL_RCC_PWR_CLK_ENABLE();
  __HAL_PWR_VOLTAGESCALING_CONFIG(PWR_REGULATOR_VOLTAGE_SCALE2);
  /** Initializes the RCC Oscillators according to the specified parameters
  * in the RCC_OscInitTypeDef structure.
  */
  RCC_OscInitStruct.OscillatorType = RCC_OSCILLATORTYPE_HSI;
  RCC_OscInitStruct.HSIState = RCC_HSI_ON;
  RCC_OscInitStruct.HSICalibrationValue = RCC_HSICALIBRATION_DEFAULT;
  RCC_OscInitStruct.PLL.PLLState = RCC_PLL_ON;
  RCC_OscInitStruct.PLL.PLLSource = RCC_PLLSOURCE_HSI;
  RCC_OscInitStruct.PLL.PLLM = 8;
  RCC_OscInitStruct.PLL.PLLN = 84;
  RCC_OscInitStruct.PLL.PLLP = RCC_PLLP_DIV2;
  RCC_OscInitStruct.PLL.PLLQ = 4;
  if (HAL_RCC_OscConfig(&RCC_OscInitStruct) != HAL_OK)
  {
    Error_Handler();
  }
  /** Initializes the CPU, AHB and APB buses clocks
  */
  RCC_ClkInitStruct.ClockType = RCC_CLOCKTYPE_HCLK|RCC_CLOCKTYPE_SYSCLK
                              |RCC_CLOCKTYPE_PCLK1|RCC_CLOCKTYPE_PCLK2;
  RCC_ClkInitStruct.SYSCLKSource = RCC_SYSCLKSOURCE_PLLCLK;
  RCC_ClkInitStruct.AHBCLKDivider = RCC_SYSCLK_DIV1;
  RCC_ClkInitStruct.APB1CLKDivider = RCC_HCLK_DIV2;
  RCC_ClkInitStruct.APB2CLKDivider = RCC_HCLK_DIV1;

  if (HAL_RCC_ClockConfig(&RCC_ClkInitStruct, FLASH_LATENCY_2) != HAL_OK)
  {
    Error_Handler();
  }
}

void Error_Handler(void)
{
  __disable_irq();
  while (1)
  {
  }
}

/************************ (C) COPYRIGHT STMicroelectronics *****END OF FILE****/
